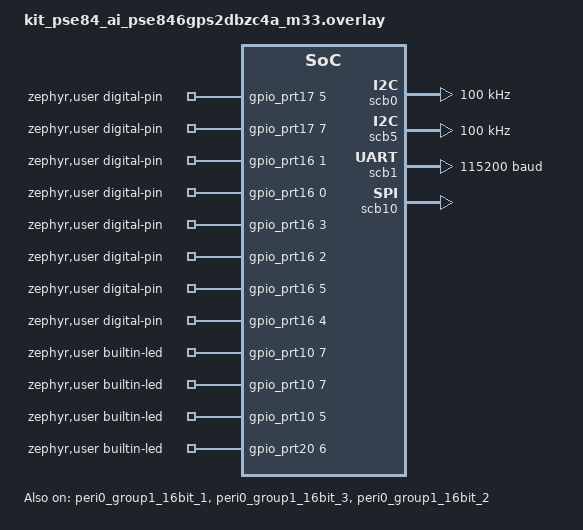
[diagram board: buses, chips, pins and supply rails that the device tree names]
/*
 * Copyright (c) Arduino s.r.l. and/or its affiliated companies
 *
 * SPDX-License-Identifier: Apache-2.0
 *
 * Devicetree overlay for KIT-PSE84-AI (PSOC Edge E84, CM33 secure)
 *
 * Hardware mapping derived from:
 *   - Infineon TARGET_KIT_PSE84_AI BSP (design.modus)
 *   - Zephyr board DTS (kit_pse84_ai_common.dtsi)
 *   - Zephyr SoC DTS (pse84.bga-220.dtsi)
 *
 * Peripherals:
 *   UART  : SCB2  - P6_7(TX) / P6_5(RX)  (console, enabled in board DTS)
 *   I2C   : SCB0  - P8_0(SCL) / P8_1(SDA) (1.8V I2C bus)
 *   SPI   : SCB10 - P16_0(CLK) / P16_1(MOSI) / P16_2(MISO) / P16_6(CS)
 *   LEDs  : P10_7(LED0) P10_5(LED1) P20_6(RED) P20_4(GREEN) P20_5(BLUE)
 *   Button: P7_0 (SW1, active-low, internal pull-up)
 */

/* ------------------------------------------------------------------ */
/* Arduino user sketch partition                                      */
/* Placed at the end of the CM33 secure XIP flash region.             */
/* m33s_xip starts at 0x70100400 with size 0x1FFC00 (~2MB).          */
/* Loader occupies the first portion; user_sketch gets the tail end.  */
/*                                                                    */
/* IMPORTANT: Keep one coherent address model for both:               */
/*   - upstream loader flash_area_read() (partition reg as flash off) */
/*   - upstream loader runtime base math (flash0_base + reg)          */
/* PSE84 secure XIP uses the 0x70000000 alias for SMIF flash.         */
/* Target sketch address is 0x70200000, so use:                       */
/*   flash0_base = 0x70000000                                          */
/*   user_sketch_offset = 0x00200000                                   */
/* ------------------------------------------------------------------ */
&flash0 {
	reg = <0x70000000 DT_SIZE_M(64)>;
        partitions {
                compatible = "fixed-partitions";
                #address-cells = <1>;
                #size-cells = <1>;

		user_sketch: partition@200000 {
			reg = <0x200000 DT_SIZE_K(1023)>;
                };
        };
};

/* ------------------------------------------------------------------ */
/* Enable GPIO ports needed for digital pins, LEDs, button, SPI, I2C */
/* ------------------------------------------------------------------ */
&gpio_prt7 {
	status = "okay";
};

&gpio_prt8 {
	status = "okay";
};

&gpio_prt9 {
	status = "okay";
};

&gpio_prt10 {
	status = "okay";
};

&gpio_prt11 {
	status = "okay";
};

&gpio_prt13 {
	status = "okay";
};

&gpio_prt15 {
	status = "okay";
};

&gpio_prt16 {
	status = "okay";
};

&gpio_prt17 {
	status = "okay";
};

&gpio_prt20 {
	status = "okay";
};

&gpio_prt21 {
	status = "okay";
};

/* ------------------------------------------------------------------ */
/* I2C bus - SCB0 on P8_0(SCL) / P8_1(SDA)                           */
/* ------------------------------------------------------------------ */
i2c0: &scb0 {
	compatible = "infineon,i2c";
	status = "okay";
	#address-cells = <1>;
	#size-cells = <0>;
	clock-frequency = <100000>;

	clocks = <&peri0_group1_16bit_1>;

	pinctrl-0 = <&p8_0_scb0_i2c_scl &p8_1_scb0_i2c_sda>;
	pinctrl-names = "default";
};



i2c1: &scb5 {
	compatible = "infineon,i2c";
	status = "okay";
	#address-cells = <1>;
	#size-cells = <0>;
	clock-frequency = <100000>;

	clocks = <&peri0_group1_16bit_3>;

	pinctrl-0 = <&p17_0_scb5_i2c_scl &p17_1_scb5_i2c_sda>;
	pinctrl-names = "default";
};


&peri0_group1_16bit_1 {
	status = "okay";
	clock-div = <1>;
};

&peri0_group1_16bit_3 {
	status = "okay";
	clock-div = <1>;
};

&p8_0_scb0_i2c_scl {
	drive-open-drain;
	input-enable;
};

&p8_1_scb0_i2c_sda {
	drive-open-drain;
	input-enable;
};

&p17_0_scb5_i2c_scl {
	drive-open-drain;
	input-enable;
};

&p17_1_scb5_i2c_sda {
	drive-open-drain;
	input-enable;
};

/* ------------------------------------------------------------------ */
/* UART1 bus - SCB1 on P9_2(TX) / P9_3(RX)                          */
/* Exposed as Arduino Serial1 via zephyr,user.serials                */
/* ------------------------------------------------------------------ */
uart1: &scb1 {
	compatible = "infineon,uart";
	status = "okay";
	current-speed = <115200>;

	clocks = <&peri0_group1_16bit_0>;

	pinctrl-0 = <&p9_2_scb1_uart_tx &p9_3_scb1_uart_rx>;
	pinctrl-names = "default";
};

&p9_2_scb1_uart_tx {
	drive-push-pull;
};

&p9_3_scb1_uart_rx {
	input-enable;
};

/* ------------------------------------------------------------------ */
/* SPI bus - SCB3 on P21_6(CLK) / P21_5(MOSI) / P21_4(MISO)           */
/*           CS on P21_7 (directly driven as GPIO)                    */
/* ------------------------------------------------------------------ */
spi0: &scb3 {
	#address-cells = <1>;
	#size-cells = <0>;
	compatible = "infineon,spi";
	status = "disabled";

	clocks = <&peri0_group1_16bit_2>;

	pinctrl-0 = <&p21_5_scb3_spi_m_mosi &p21_4_scb3_spi_m_miso
		     &p21_6_scb3_spi_m_clk>;
	pinctrl-names = "default";
	cs-gpios = <&gpio_prt21 7 GPIO_ACTIVE_LOW>;
};

/* ------------------------------------------------------------------ */
/* SPI bus (external header) - SCB10 on P16_0/1/2                     */
/*   CLK  = D3  (P16_0)                                               */
/*   MOSI = D2  (P16_1)                                               */
/*   MISO = D5  (P16_2)                                               */
/*   CS   = D9  (P16_6, GPIO-driven)                                  */
/* ------------------------------------------------------------------ */
spi1: &scb10 {
	#address-cells = <1>;
	#size-cells = <0>;
	compatible = "infineon,spi";
	status = "okay";
	clocks = <&peri0_group1_16bit_2>;

	pinctrl-0 = <&p16_1_scb10_spi_m_mosi &p16_2_scb10_spi_m_miso
		     &p16_0_scb10_spi_m_clk>;
	pinctrl-names = "default";
	cs-gpios = <&gpio_prt16 6 GPIO_ACTIVE_LOW>;
};

&peri0_group1_16bit_2 {
	status = "okay";
};

&p21_5_scb3_spi_m_mosi {
	drive-strength = "full";
	drive-push-pull;
};

&p21_4_scb3_spi_m_miso {
	drive-strength = "full";
	input-enable;
};

&p21_6_scb3_spi_m_clk {
	drive-strength = "full";
	drive-push-pull;
};

&p16_1_scb10_spi_m_mosi {
	drive-strength = "full";
	drive-push-pull;
};

&p16_2_scb10_spi_m_miso {
	drive-strength = "full";
	input-enable;
};

&p16_0_scb10_spi_m_clk {
	drive-strength = "full";
	drive-push-pull;
};

/* ------------------------------------------------------------------ */
/* Arduino 'zephyr,user' node                                         */
/*                                                                    */
/* Digital pin numbers are assigned by order in digital-pin-gpios     */
/* below (top entry is D0, then D1, etc.).                            */
/*                                                                    */
/* SPI mapping (SCB10): D3=CLK(P16_0), D2=MOSI(P16_1),                */
/*                      D5=MISO(P16_2), D9=CS(P16_6)                  */
/* Internal SCB3 SPI is disabled for now to free clock/divider usage. */
/* The only exposed SPI bus is SCB10 (use Arduino SPI object).        */
/*                                                                    */
/* ------------------------------------------------------------------ */
/ {
	zephyr,user {
		digital-pin-gpios = <&gpio_prt17 5 0>,  /* D0  - P17_5       */
				    <&gpio_prt17 7 0>,  /* D1  - P17_7       */
				    <&gpio_prt16 1 0>,  /* D2  - P16_1       */
				    <&gpio_prt16 0 0>,  /* D3  - P16_0       */
				    <&gpio_prt16 3 0>,  /* D4  - P16_3       */
				    <&gpio_prt16 2 0>,  /* D5  - P16_2       */
				    <&gpio_prt16 5 0>,  /* D6  - P16_5       */
				    <&gpio_prt16 4 0>,  /* D7  - P16_4       */
				    <&gpio_prt16 7 0>,  /* D8  - P16_7       */
				    <&gpio_prt16 6 0>,  /* D9  - P16_6       */
				    <&gpio_prt11 1 0>,  /* D10 - P11_1 (input only) */
				    <&gpio_prt17 4 0>,  /* D11 - P17_4       */
				    <&gpio_prt17 2 0>,  /* D12 - P17_2       */
				    <&gpio_prt17 3 0>,  /* D13 - P17_3       */
				    <&gpio_prt17 0 0>,  /* D14 - P17_0       */
				    <&gpio_prt17 1 0>,  /* D15 - P17_1       */

				    <&gpio_prt9  3 0>,  /* D16 - P9_3 / SERIAL_INT3 */
				    <&gpio_prt9  2 0>,  /* D17 - P9_2 / SERIAL_INT2 */
				    <&gpio_prt9  1 0>,  /* D18 - P9_1 / SERIAL_INT1 */
				    <&gpio_prt9  0 0>,  /* D19 - P9_0 / SERIAL_INT0 */

				    <&gpio_prt15 0 0>,  /* D20 - P15_0 - A0  */
				    <&gpio_prt15 1 0>,  /* D21 - P15_1 - A1  */
				    <&gpio_prt15 2 0>,  /* D22 - P15_2 - A2  */
				    <&gpio_prt15 3 0>,  /* D23 - P15_3 - A3  */
				    <&gpio_prt15 4 0>,  /* D24 - P15_4 - A4  */
				    <&gpio_prt15 5 0>,  /* D25 - P15_5 - A5  */
				    <&gpio_prt15 6 0>,  /* D26 - P15_6 - A6  */
				    <&gpio_prt15 7 0>,  /* D27 - P15_7 - A7  */

				    <&gpio_prt13 0 0>,  /* D28 - P13_0 - A8  */
				    <&gpio_prt13 1 0>,  /* D29 - P13_1 - A9  */
				    <&gpio_prt13 2 0>,  /* D30 - P13_2 - A10 */
				    <&gpio_prt13 3 0>,  /* D31 - P13_3 - A11 */
				    <&gpio_prt13 4 0>,  /* D32 - P13_4 - A12 */
				    <&gpio_prt13 5 0>,  /* D33 - P13_5 - A13 */
				    <&gpio_prt13 6 0>,  /* D34 - P13_6 - A14 */
				    <&gpio_prt13 7 0>,  /* D35 - P13_7 - A15 */

				    <&gpio_prt10 7 0>,  /* D36 - LED_0       */
				    <&gpio_prt10 5 0>,  /* D37 - LED_1       */
				    <&gpio_prt20 6 0>,  /* D38 - LED_RGB_RED */
				    <&gpio_prt20 4 0>,  /* D39 - LED_RGB_GRN */
				    <&gpio_prt20 5 0>,  /* D40 - LED_RGB_BLU */
				    <&gpio_prt7  0 0>,  /* D41 - SW1 / BTN   */
				    <&gpio_prt8  0 0>,  /* D42 - I2C_SCL     */
				    <&gpio_prt8  1 0>,  /* D43 - I2C_SDA     */
				    <&gpio_prt21 6 0>,  /* D44 - SCB3_CLK    */
				    <&gpio_prt21 5 0>,  /* D45 - SCB3_MOSI   */
				    <&gpio_prt21 4 0>,  /* D46 - SCB3_MISO   */
				    <&gpio_prt21 7 0>;  /* D47 - SCB3_CS     */

		builtin-led-gpios = <&gpio_prt10 7 GPIO_ACTIVE_HIGH>,  /* LED_0 (default) */
				    <&gpio_prt10 7 GPIO_ACTIVE_HIGH>,  /* LED_0            */
				    <&gpio_prt10 5 GPIO_ACTIVE_HIGH>,  /* LED_1            */
				    <&gpio_prt20 6 GPIO_ACTIVE_HIGH>;  /* LED_RGB_RED      */

		serials = <&uart2 &uart1>;
		i2cs = <&i2c0 &i2c1>;
		spis = <&spi1>;
	};
};
